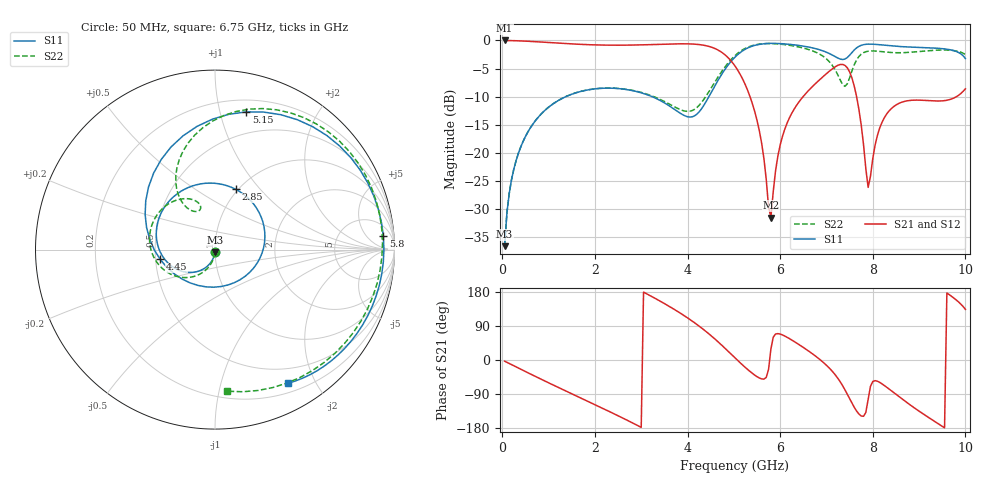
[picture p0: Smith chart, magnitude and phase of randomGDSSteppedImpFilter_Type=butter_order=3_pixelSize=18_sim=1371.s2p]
! freq	dB(S11)	phase(S11)	dB(S12)	phase(S12)
!  dB(S21)	phase(S21)	dB(S22)	phase(S22)
!S-par simulation data
#  GHz  S  DB  R 50
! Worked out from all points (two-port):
!   200 points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, 50 MHz to 10 GHz, reference 50 ohm
!   highest |S21| = -0.01 dB at 50 MHz (marker M1); lowest = -31.5 dB at 5.8 GHz (marker M2)
!   |S21| within 3 dB of the highest: start of sweep to 4.868 GHz
!   lowest |S11| = -36.6 dB at 50 MHz (marker M3), VSWR 1.03, Z = 49.9 - j1.48 ohm
!   |S11| at or under -10 dB: start of sweep to 1.37 GHz; 3.236 GHz to 4.461 GHz (1.224 GHz wide, 31.8 % of centre)
!   |S22| runs from -36.5 to -0.6 dB; largest |S21 - S12| = 0
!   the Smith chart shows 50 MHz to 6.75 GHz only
!   S11 on the Smith chart (normalised r, x): 50 MHz: 1.00, -0.03; 2.85 GHz: 0.98, +0.75; 4.45 GHz: 0.53, -0.06; 5.15 GHz: 0.30, +1.21; 5.8 GHz: 12, +16; 6.75 GHz: 0.31, -1.64
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0.05  -36.56 -92.8  -0.01 -3.1  -0.01 -3.1  -36.54 -92.1
0.2  -24.72 -103.8  -0.03 -12.3  -0.03 -12.3  -24.71 -101.1
0.5  -17.08 -124.4  -0.13 -30.5  -0.13 -30.5  -17.07 -117.5
1.75  -8.96 151.9  -0.72 -103.5  -0.72 -103.5  -8.94 179.9
2.85  -8.99 70.9  -0.82 -168.3  -0.82 -168.3  -8.94 132.0
3.4  -10.63 19.5  -0.69 155.9  -0.69 155.9  -10.45 113.2
4.45  -10.16 -170.0  -1.04 70.2  -1.04 70.2  -9.26 124.5
5.05  -2.77 91.1  -4.85 2.8  -4.85 2.8  -2.52 86.2
5.15  -2.08 77.2  -6.23 -8.8  -6.23 -8.8  -1.88 76.4
5.55  -0.70 28.8  -16.03 -47.4  -16.03 -47.4  -0.66 36.0
5.8  -0.53 4.5  -31.47 28.8  -31.47 28.8  -0.56 11.8
6.05  -0.59 -16.1  -17.04 66.2  -17.04 66.2  -0.70 -11.9
6.7  -1.33 -58.6  -8.17 16.1  -8.17 16.1  -1.86 -79.0
6.75  -1.43 -61.3  -7.77 11.6  -7.77 11.6  -2.03 -85.2
7.2  -2.93 -80.4  -4.63 -40.8  -4.63 -40.8  -5.41 -169.5
7.4  -3.31 -78.9  -4.44 -78.9  -4.44 -78.9  -8.16 95.9
7.6  -1.70 -81.3  -8.12 -124.7  -8.12 -124.7  -4.32 -17.2
7.9  -0.66 -100.8  -26.12 -104.7  -26.12 -104.7  -1.92 -108.8
8.35  -0.93 -123.5  -12.55 -76.5  -12.55 -76.5  -2.12 163.4
8.9  -1.21 -146.5  -10.61 -126.6  -10.61 -126.6  -2.04 78.0
9.45  -1.42 -172.5  -10.76 -171.0  -10.76 -171.0  -1.71 17.1
10  -3.22 146.3  -8.61 133.8  -8.61 133.8  -2.51 -26.7
